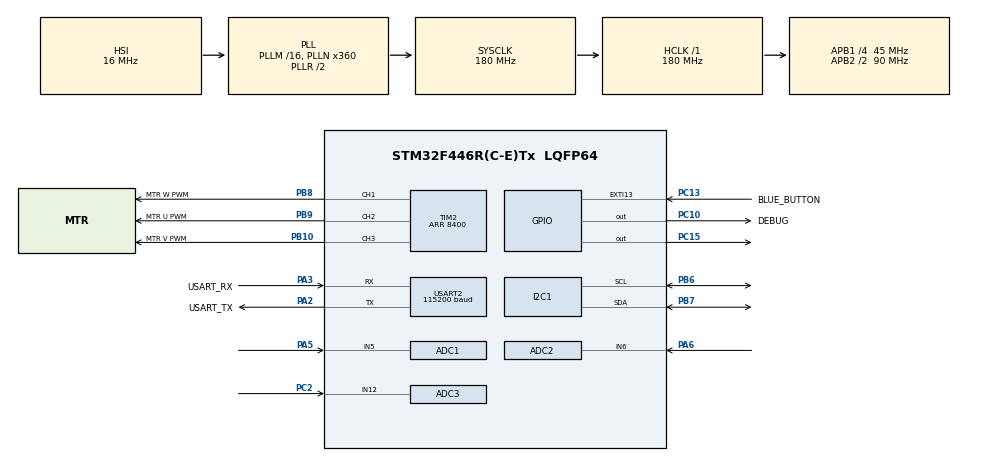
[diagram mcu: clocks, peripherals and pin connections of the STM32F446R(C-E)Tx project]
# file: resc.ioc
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ADC1.Channel-0\#ChannelRegularConversion=ADC_CHANNEL_5
ADC1.ExternalTrigConv=ADC_EXTERNALTRIGCONV_T5_CC1
ADC1.NbrOfConversionFlag=1
ADC1.Rank-0\#ChannelRegularConversion=1
ADC1.Resolution=ADC_RESOLUTION_12B
ADC1.SamplingTime-0\#ChannelRegularConversion=ADC_SAMPLETIME_15CYCLES
ADC1.master=1
ADC2.Channel-0\#ChannelRegularConversion=ADC_CHANNEL_6
ADC2.ClockPrescaler=ADC_CLOCK_SYNC_PCLK_DIV4
ADC2.ExternalTrigConv=ADC_EXTERNALTRIGCONV_T5_CC2
ADC2.NbrOfConversionFlag=1
ADC2.Rank-0\#ChannelRegularConversion=1
ADC2.Resolution=ADC_RESOLUTION_12B
ADC2.SamplingTime-0\#ChannelRegularConversion=ADC_SAMPLETIME_3CYCLES
ADC3.Channel-2\#ChannelRegularConversion=ADC_CHANNEL_12
ADC3.ExternalTrigConv=ADC_EXTERNALTRIGCONV_T5_CC3
ADC3.InjNumberOfConversion=0
ADC3.NbrOfConversionFlag=1
ADC3.Rank-2\#ChannelRegularConversion=1
ADC3.Resolution=ADC_RESOLUTION_12B
ADC3.SamplingTime-2\#ChannelRegularConversion=ADC_SAMPLETIME_3CYCLES
I2C1.I2C_Mode=I2C_Standard
Mcu.Family=STM32F4
Mcu.Name=STM32F446R(C-E)Tx
Mcu.Package=LQFP64
NVIC.EXTI15_10_IRQn=true\:6\:0\:true\:false\:true\:true\:true\:true
NVIC.I2C1_EV_IRQn=true\:6\:0\:true\:false\:true\:true\:true\:true
NVIC.PriorityGroup=NVIC_PRIORITYGROUP_4
NVIC.TIM1_UP_TIM10_IRQn=true\:15\:0\:true\:false\:true\:false\:true\:true
NVIC.TIM3_IRQn=true\:5\:0\:true\:false\:true\:true\:true\:true
NVIC.TIM6_DAC_IRQn=true\:7\:0\:true\:false\:true\:true\:true\:true
NVIC.TimeBase=TIM1_UP_TIM10_IRQn
NVIC.TimeBaseIP=TIM1
NVIC.USART2_IRQn=true\:8\:0\:true\:false\:true\:true\:true\:true
PA13.GPIO_Label=TMS
PA13.Signal=SYS_JTMS-SWDIO
PA14.GPIO_Label=TCK
PA14.Signal=SYS_JTCK-SWCLK
PA2.GPIO_Label=USART_TX
PA2.Mode=Asynchronous
PA2.Signal=USART2_TX
PA3.GPIO_Label=USART_RX
PA3.Mode=Asynchronous
PA3.Signal=USART2_RX
PA5.Signal=ADCx_IN5
PA6.Signal=ADCx_IN6
PB10.GPIO_Label=MTR V PWM
PB10.Signal=S_TIM2_CH3
PB3.GPIO_Label=SWO
PB3.Signal=SYS_JTDO-SWO
PB6.Mode=I2C
PB6.Signal=I2C1_SCL
PB7.Mode=I2C
PB7.Signal=I2C1_SDA
PB8.GPIO_Label=MTR W PWM
PB8.Signal=S_TIM2_CH1_ETR
PB9.GPIO_Label=MTR U PWM
PB9.Signal=S_TIM2_CH2
PC10.GPIO_Label=DEBUG
PC10.GPIO_Speed=GPIO_SPEED_FREQ_VERY_HIGH
PC10.Signal=GPIO_Output
PC13.GPIO_Label=BLUE_BUTTON
PC13.GPIO_PuPd=GPIO_PULLDOWN
PC13.Signal=GPXTI13
PC15-OSC32_OUT.PinState=GPIO_PIN_RESET
PC15-OSC32_OUT.Signal=GPIO_Output
PC2.Signal=ADCx_IN12
PH0-OSC_IN.Mode=HSE-External-Oscillator
PH0-OSC_IN.Signal=RCC_OSC_IN
PH1-OSC_OUT.Mode=HSE-External-Oscillator
PH1-OSC_OUT.Signal=RCC_OSC_OUT
ProjectManager.HeapSize=0x200
ProjectManager.StackSize=0x400
ProjectManager.TargetToolchain=STM32CubeIDE
RCC.48MHZClocksFreq_Value=84000000
RCC.AHBFreq_Value=180000000
RCC.APB1CLKDivider=RCC_HCLK_DIV4
RCC.APB1Freq_Value=45000000
RCC.APB1TimFreq_Value=90000000
RCC.APB2CLKDivider=RCC_HCLK_DIV2
RCC.APB2Freq_Value=90000000
RCC.APB2TimFreq_Value=180000000
RCC.CortexFreq_Value=180000000
RCC.FLatency-AdvancedSettings=FLASH_LATENCY_5
RCC.HCLKFreq_Value=180000000
RCC.HSE_VALUE=8000000
RCC.HSI_VALUE=16000000
RCC.PLLN=360
RCC.SYSCLKFreq_VALUE=180000000
RCC.SYSCLKSource=RCC_SYSCLKSOURCE_PLLRCLK
RCC.USBFreq_Value=180000000
RCC.VCOOutputFreq_Value=360000000
SH.ADCx_IN12.0=ADC3_IN12,IN12
SH.ADCx_IN5.0=ADC1_IN5,IN5
SH.ADCx_IN6.0=ADC2_IN6,IN6
SH.S_TIM2_CH1_ETR.0=TIM2_CH1,PWM Generation1 CH1
SH.S_TIM2_CH2.0=TIM2_CH2,PWM Generation2 CH2
SH.S_TIM2_CH3.0=TIM2_CH3,PWM Generation3 CH3
TIM2.Channel-PWM\ Generation1\ CH1=TIM_CHANNEL_1
TIM2.Channel-PWM\ Generation2\ CH2=TIM_CHANNEL_2
TIM2.Channel-PWM\ Generation3\ CH3=TIM_CHANNEL_3
TIM2.OCMode_PWM-PWM\ Generation1\ CH1=TIM_OCMODE_PWM1
TIM2.Period=8400
TIM2.Pulse-PWM\ Generation1\ CH1=100
TIM2.Pulse-PWM\ Generation2\ CH2=100
TIM2.Pulse-PWM\ Generation3\ CH3=100
TIM2.TIM_MasterOutputTrigger=TIM_TRGO_UPDATE
TIM2.TIM_MasterSlaveMode=TIM_MASTERSLAVEMODE_ENABLE
TIM3.ClockDivision=TIM_CLOCKDIVISION_DIV2
TIM3.Period=30000
TIM3.Prescaler=2
TIM5.Channel-PWM\ Generation1\ No\ Output=TIM_CHANNEL_1
TIM5.Channel-PWM\ Generation2\ No\ Output=TIM_CHANNEL_2
TIM5.Channel-PWM\ Generation3\ No\ Output=TIM_CHANNEL_3
TIM5.OCFastMode_PWM-PWM\ Generation1\ No\ Output=TIM_OCFAST_ENABLE
TIM5.OCFastMode_PWM-PWM\ Generation2\ No\ Output=TIM_OCFAST_ENABLE
TIM5.OCFastMode_PWM-PWM\ Generation3\ No\ Output=TIM_OCFAST_ENABLE
TIM5.Period=8400
TIM5.TIM_MasterOutputTrigger=TIM_TRGO_OC1
TIM6.Period=360
TIM6.Prescaler=1000
USART2.BaudRate=115200
USART2.OverSampling=UART_OVERSAMPLING_8
USART2.VirtualMode=VM_ASYNC
VP_SYS_VS_tim1.Mode=TIM1
VP_TIM2_VS_ClockSourceINT.Mode=Internal
VP_TIM3_VS_ClockSourceINT.Mode=Internal
VP_TIM5_VS_ClockSourceITR.Mode=TriggerSource_ITR0
VP_TIM5_VS_ControllerModeReset.Mode=Reset Mode
VP_TIM5_VS_no_output1.Mode=PWM Generation1 No Output
VP_TIM5_VS_no_output2.Mode=PWM Generation2 No Output
VP_TIM5_VS_no_output3.Mode=PWM Generation3 No Output
VP_TIM6_VS_ClockSourceINT.Mode=Enable_Timer
board=NUCLEO-F446RE

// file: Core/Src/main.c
/* USER CODE BEGIN Header */
/**
  ******************************************************************************
  * @file           : main.c
  * @brief          : Main program body
  ******************************************************************************
  * @attention
  *
  * Copyright (c) 2022 STMicroelectronics.
  * All rights reserved.
  *
  * This software is licensed under terms that can be found in the LICENSE file
  * in the root directory of this software component.
  * If no LICENSE file comes with this software, it is provided AS-IS.
  *
  ******************************************************************************
  */
/* USER CODE END Header */
#include "main.h"

/* USER CODE BEGIN Includes */
#include "math.h"

/* USER CODE END Includes */

ADC_HandleTypeDef hadc1;
ADC_HandleTypeDef hadc2;
ADC_HandleTypeDef hadc3;

I2C_HandleTypeDef hi2c1;

TIM_HandleTypeDef htim2;
TIM_HandleTypeDef htim3;
TIM_HandleTypeDef htim5;
TIM_HandleTypeDef htim6;

UART_HandleTypeDef huart2;

void SystemClock_Config(void);
static void MX_GPIO_Init(void);
static void MX_USART2_UART_Init(void);
static void MX_ADC1_Init(void);
static void MX_ADC2_Init(void);
static void MX_ADC3_Init(void);
static void MX_TIM2_Init(void);
static void MX_I2C1_Init(void);
static void MX_TIM5_Init(void);
static void MX_TIM3_Init(void);
static void MX_TIM6_Init(void);

/* USER CODE BEGIN 0 */
void HAL_GPIO_EXTI_Callback(uint16_t GPIO_Pin){

	if(GPIO_Pin == BLUE_BUTTON_Pin){
		if(elec_search_state2){
			elec_search_state2 = 0;
		}else{
			elec_search_state2 = 1;
		}
	}

}

/* USER CODE END 0 */

int main(void)
{

  /* MCU Configuration--------------------------------------------------------*/

  /* Reset of all peripherals, Initializes the Flash interface and the Systick. */
  HAL_Init();

  /* Configure the system clock */
  SystemClock_Config();

  /* Initialize all configured peripherals */
  MX_GPIO_Init();
  MX_USART2_UART_Init();
  MX_ADC1_Init();
  MX_ADC2_Init();
  MX_ADC3_Init();
  MX_TIM2_Init();
  MX_I2C1_Init();
  MX_TIM5_Init();
  MX_TIM3_Init();
  MX_TIM6_Init();
  /* USER CODE BEGIN 2 */

  mtr_init();
  encoder_init();
  mtr_set_U(0.5);
  mtr_set_W(0.5);
  mtr_set_V(0.5);

  HAL_TIM_Base_Start_IT(&htim3);
  HAL_TIM_Base_Start_IT(&htim6);

  logger_init(&huart2);
  //debug_print_init(&huart2);

  /* USER CODE END 2 */

  /* Infinite loop */
  while (1)
  {

  }
}

void SystemClock_Config(void)
{
  RCC_OscInitTypeDef RCC_OscInitStruct = {0};
  RCC_ClkInitTypeDef RCC_ClkInitStruct = {0};

  /** Configure the main internal regulator output voltage
  */
  __HAL_RCC_PWR_CLK_ENABLE();
  __HAL_PWR_VOLTAGESCALING_CONFIG(PWR_REGULATOR_VOLTAGE_SCALE1);

  /** Initializes the RCC Oscillators according to the specified parameters
  * in the RCC_OscInitTypeDef structure.
  */
  RCC_OscInitStruct.OscillatorType = RCC_OSCILLATORTYPE_HSI;
  RCC_OscInitStruct.HSIState = RCC_HSI_ON;
  RCC_OscInitStruct.HSICalibrationValue = RCC_HSICALIBRATION_DEFAULT;
  RCC_OscInitStruct.PLL.PLLState = RCC_PLL_ON;
  RCC_OscInitStruct.PLL.PLLSource = RCC_PLLSOURCE_HSI;
  RCC_OscInitStruct.PLL.PLLM = 16;
  RCC_OscInitStruct.PLL.PLLN = 360;
  RCC_OscInitStruct.PLL.PLLP = RCC_PLLP_DIV2;
  RCC_OscInitStruct.PLL.PLLQ = 2;
  RCC_OscInitStruct.PLL.PLLR = 2;
  if (HAL_RCC_OscConfig(&RCC_OscInitStruct) != HAL_OK)
  {
    Error_Handler();
  }

  /** Activate the Over-Drive mode
  */
  if (HAL_PWREx_EnableOverDrive() != HAL_OK)
  {
    Error_Handler();
  }

  /** Initializes the CPU, AHB and APB buses clocks
  */
  RCC_ClkInitStruct.ClockType = RCC_CLOCKTYPE_HCLK|RCC_CLOCKTYPE_SYSCLK
                              |RCC_CLOCKTYPE_PCLK1|RCC_CLOCKTYPE_PCLK2;
  RCC_ClkInitStruct.SYSCLKSource = RCC_SYSCLKSOURCE_PLLRCLK;
  RCC_ClkInitStruct.AHBCLKDivider = RCC_SYSCLK_DIV1;
  RCC_ClkInitStruct.APB1CLKDivider = RCC_HCLK_DIV4;
  RCC_ClkInitStruct.APB2CLKDivider = RCC_HCLK_DIV2;

  if (HAL_RCC_ClockConfig(&RCC_ClkInitStruct, FLASH_LATENCY_5) != HAL_OK)
  {
    Error_Handler();
  }
}

static void MX_ADC1_Init(void)
{

  ADC_ChannelConfTypeDef sConfig = {0};

  /** Configure the global features of the ADC (Clock, Resolution, Data Alignment and number of conversion)
  */
  hadc1.Instance = ADC1;
  hadc1.Init.ClockPrescaler = ADC_CLOCK_SYNC_PCLK_DIV4;
  hadc1.Init.Resolution = ADC_RESOLUTION_12B;
  hadc1.Init.ScanConvMode = DISABLE;
  hadc1.Init.ContinuousConvMode = DISABLE;
  hadc1.Init.DiscontinuousConvMode = DISABLE;
  hadc1.Init.ExternalTrigConvEdge = ADC_EXTERNALTRIGCONVEDGE_RISING;
  hadc1.Init.ExternalTrigConv = ADC_EXTERNALTRIGCONV_T5_CC1;
  hadc1.Init.DataAlign = ADC_DATAALIGN_RIGHT;
  hadc1.Init.NbrOfConversion = 1;
  hadc1.Init.DMAContinuousRequests = DISABLE;
  hadc1.Init.EOCSelection = ADC_EOC_SINGLE_CONV;
  if (HAL_ADC_Init(&hadc1) != HAL_OK)
  {
    Error_Handler();
  }

  /** Configure for the selected ADC regular channel its corresponding rank in the sequencer and its sample time.
  */
  sConfig.Channel = ADC_CHANNEL_5;
  sConfig.Rank = 1;
  sConfig.SamplingTime = ADC_SAMPLETIME_15CYCLES;
  if (HAL_ADC_ConfigChannel(&hadc1, &sConfig) != HAL_OK)
  {
    Error_Handler();
  }

}

static void MX_ADC2_Init(void)
{

  ADC_ChannelConfTypeDef sConfig = {0};

  /** Configure the global features of the ADC (Clock, Resolution, Data Alignment and number of conversion)
  */
  hadc2.Instance = ADC2;
  hadc2.Init.ClockPrescaler = ADC_CLOCK_SYNC_PCLK_DIV4;
  hadc2.Init.Resolution = ADC_RESOLUTION_12B;
  hadc2.Init.ScanConvMode = DISABLE;
  hadc2.Init.ContinuousConvMode = DISABLE;
  hadc2.Init.DiscontinuousConvMode = DISABLE;
  hadc2.Init.ExternalTrigConvEdge = ADC_EXTERNALTRIGCONVEDGE_RISING;
  hadc2.Init.ExternalTrigConv = ADC_EXTERNALTRIGCONV_T5_CC2;
  hadc2.Init.DataAlign = ADC_DATAALIGN_RIGHT;
  hadc2.Init.NbrOfConversion = 1;
  hadc2.Init.DMAContinuousRequests = DISABLE;
  hadc2.Init.EOCSelection = ADC_EOC_SINGLE_CONV;
  if (HAL_ADC_Init(&hadc2) != HAL_OK)
  {
    Error_Handler();
  }

  /** Configure for the selected ADC regular channel its corresponding rank in the sequencer and its sample time.
  */
  sConfig.Channel = ADC_CHANNEL_6;
  sConfig.Rank = 1;
  sConfig.SamplingTime = ADC_SAMPLETIME_3CYCLES;
  if (HAL_ADC_ConfigChannel(&hadc2, &sConfig) != HAL_OK)
  {
    Error_Handler();
  }

}

static void MX_ADC3_Init(void)
{

  ADC_ChannelConfTypeDef sConfig = {0};

  /** Configure the global features of the ADC (Clock, Resolution, Data Alignment and number of conversion)
  */
  hadc3.Instance = ADC3;
  hadc3.Init.ClockPrescaler = ADC_CLOCK_SYNC_PCLK_DIV4;
  hadc3.Init.Resolution = ADC_RESOLUTION_12B;
  hadc3.Init.ScanConvMode = DISABLE;
  hadc3.Init.ContinuousConvMode = DISABLE;
  hadc3.Init.DiscontinuousConvMode = DISABLE;
  hadc3.Init.ExternalTrigConvEdge = ADC_EXTERNALTRIGCONVEDGE_RISING;
  hadc3.Init.ExternalTrigConv = ADC_EXTERNALTRIGCONV_T5_CC3;
  hadc3.Init.DataAlign = ADC_DATAALIGN_RIGHT;
  hadc3.Init.NbrOfConversion = 1;
  hadc3.Init.DMAContinuousRequests = DISABLE;
  hadc3.Init.EOCSelection = ADC_EOC_SINGLE_CONV;
  if (HAL_ADC_Init(&hadc3) != HAL_OK)
  {
    Error_Handler();
  }

  /** Configure for the selected ADC regular channel its corresponding rank in the sequencer and its sample time.
  */
  sConfig.Channel = ADC_CHANNEL_12;
  sConfig.Rank = 1;
  sConfig.SamplingTime = ADC_SAMPLETIME_3CYCLES;
  if (HAL_ADC_ConfigChannel(&hadc3, &sConfig) != HAL_OK)
  {
    Error_Handler();
  }

}

static void MX_I2C1_Init(void)
{

  hi2c1.Instance = I2C1;
  hi2c1.Init.ClockSpeed = 100000;
  hi2c1.Init.DutyCycle = I2C_DUTYCYCLE_2;
  hi2c1.Init.OwnAddress1 = 0;
  hi2c1.Init.AddressingMode = I2C_ADDRESSINGMODE_7BIT;
  hi2c1.Init.DualAddressMode = I2C_DUALADDRESS_DISABLE;
  hi2c1.Init.OwnAddress2 = 0;
  hi2c1.Init.GeneralCallMode = I2C_GENERALCALL_DISABLE;
  hi2c1.Init.NoStretchMode = I2C_NOSTRETCH_DISABLE;
  if (HAL_I2C_Init(&hi2c1) != HAL_OK)
  {
    Error_Handler();
  }

}

static void MX_TIM2_Init(void)
{

  TIM_ClockConfigTypeDef sClockSourceConfig = {0};
  TIM_MasterConfigTypeDef sMasterConfig = {0};
  TIM_OC_InitTypeDef sConfigOC = {0};

  htim2.Instance = TIM2;
  htim2.Init.Prescaler = 0;
  htim2.Init.CounterMode = TIM_COUNTERMODE_UP;
  htim2.Init.Period = 8400;
  htim2.Init.ClockDivision = TIM_CLOCKDIVISION_DIV1;
  htim2.Init.AutoReloadPreload = TIM_AUTORELOAD_PRELOAD_DISABLE;
  if (HAL_TIM_Base_Init(&htim2) != HAL_OK)
  {
    Error_Handler();
  }
  sClockSourceConfig.ClockSource = TIM_CLOCKSOURCE_INTERNAL;
  if (HAL_TIM_ConfigClockSource(&htim2, &sClockSourceConfig) != HAL_OK)
  {
    Error_Handler();
  }
  if (HAL_TIM_PWM_Init(&htim2) != HAL_OK)
  {
    Error_Handler();
  }
  sMasterConfig.MasterOutputTrigger = TIM_TRGO_UPDATE;
  sMasterConfig.MasterSlaveMode = TIM_MASTERSLAVEMODE_ENABLE;
  if (HAL_TIMEx_MasterConfigSynchronization(&htim2, &sMasterConfig) != HAL_OK)
  {
    Error_Handler();
  }
  sConfigOC.OCMode = TIM_OCMODE_PWM1;
  sConfigOC.Pulse = 100;
  sConfigOC.OCPolarity = TIM_OCPOLARITY_HIGH;
  sConfigOC.OCFastMode = TIM_OCFAST_DISABLE;
  if (HAL_TIM_PWM_ConfigChannel(&htim2, &sConfigOC, TIM_CHANNEL_1) != HAL_OK)
  {
    Error_Handler();
  }
  if (HAL_TIM_PWM_ConfigChannel(&htim2, &sConfigOC, TIM_CHANNEL_2) != HAL_OK)
  {
    Error_Handler();
  }
  if (HAL_TIM_PWM_ConfigChannel(&htim2, &sConfigOC, TIM_CHANNEL_3) != HAL_OK)
  {
    Error_Handler();
  }
  HAL_TIM_MspPostInit(&htim2);

}

static void MX_TIM3_Init(void)
{

  TIM_ClockConfigTypeDef sClockSourceConfig = {0};
  TIM_MasterConfigTypeDef sMasterConfig = {0};

  htim3.Instance = TIM3;
  htim3.Init.Prescaler = 2;
  htim3.Init.CounterMode = TIM_COUNTERMODE_UP;
  htim3.Init.Period = 30000;
  htim3.Init.ClockDivision = TIM_CLOCKDIVISION_DIV2;
  htim3.Init.AutoReloadPreload = TIM_AUTORELOAD_PRELOAD_DISABLE;
  if (HAL_TIM_Base_Init(&htim3) != HAL_OK)
  {
    Error_Handler();
  }
  sClockSourceConfig.ClockSource = TIM_CLOCKSOURCE_INTERNAL;
  if (HAL_TIM_ConfigClockSource(&htim3, &sClockSourceConfig) != HAL_OK)
  {
    Error_Handler();
  }
  sMasterConfig.MasterOutputTrigger = TIM_TRGO_RESET;
  sMasterConfig.MasterSlaveMode = TIM_MASTERSLAVEMODE_DISABLE;
  if (HAL_TIMEx_MasterConfigSynchronization(&htim3, &sMasterConfig) != HAL_OK)
  {
    Error_Handler();
  }

}

static void MX_TIM5_Init(void)
{

  TIM_SlaveConfigTypeDef sSlaveConfig = {0};
  TIM_MasterConfigTypeDef sMasterConfig = {0};
  TIM_OC_InitTypeDef sConfigOC = {0};

  htim5.Instance = TIM5;
  htim5.Init.Prescaler = 0;
  htim5.Init.CounterMode = TIM_COUNTERMODE_UP;
  htim5.Init.Period = 8400;
  htim5.Init.ClockDivision = TIM_CLOCKDIVISION_DIV1;
  htim5.Init.AutoReloadPreload = TIM_AUTORELOAD_PRELOAD_DISABLE;
  if (HAL_TIM_Base_Init(&htim5) != HAL_OK)
  {
    Error_Handler();
  }
  if (HAL_TIM_PWM_Init(&htim5) != HAL_OK)
  {
    Error_Handler();
  }
  sSlaveConfig.SlaveMode = TIM_SLAVEMODE_RESET;
  sSlaveConfig.InputTrigger = TIM_TS_ITR0;
  if (HAL_TIM_SlaveConfigSynchro(&htim5, &sSlaveConfig) != HAL_OK)
  {
    Error_Handler();
  }
  sMasterConfig.MasterOutputTrigger = TIM_TRGO_OC1;
  sMasterConfig.MasterSlaveMode = TIM_MASTERSLAVEMODE_DISABLE;
  if (HAL_TIMEx_MasterConfigSynchronization(&htim5, &sMasterConfig) != HAL_OK)
  {
    Error_Handler();
  }
  sConfigOC.OCMode = TIM_OCMODE_PWM1;
  sConfigOC.Pulse = 0;
  sConfigOC.OCPolarity = TIM_OCPOLARITY_HIGH;
  sConfigOC.OCFastMode = TIM_OCFAST_ENABLE;
  if (HAL_TIM_PWM_ConfigChannel(&htim5, &sConfigOC, TIM_CHANNEL_1) != HAL_OK)
  {
    Error_Handler();
  }
  if (HAL_TIM_PWM_ConfigChannel(&htim5, &sConfigOC, TIM_CHANNEL_2) != HAL_OK)
  {
    Error_Handler();
  }
  if (HAL_TIM_PWM_ConfigChannel(&htim5, &sConfigOC, TIM_CHANNEL_3) != HAL_OK)
  {
    Error_Handler();
  }

}

static void MX_TIM6_Init(void)
{

  TIM_MasterConfigTypeDef sMasterConfig = {0};

  htim6.Instance = TIM6;
  htim6.Init.Prescaler = 1000;
  htim6.Init.CounterMode = TIM_COUNTERMODE_UP;
  htim6.Init.Period = 360;
  htim6.Init.AutoReloadPreload = TIM_AUTORELOAD_PRELOAD_DISABLE;
  if (HAL_TIM_Base_Init(&htim6) != HAL_OK)
  {
    Error_Handler();
  }
  sMasterConfig.MasterOutputTrigger = TIM_TRGO_RESET;
  sMasterConfig.MasterSlaveMode = TIM_MASTERSLAVEMODE_DISABLE;
  if (HAL_TIMEx_MasterConfigSynchronization(&htim6, &sMasterConfig) != HAL_OK)
  {
    Error_Handler();
  }

}

static void MX_USART2_UART_Init(void)
{

  huart2.Instance = USART2;
  huart2.Init.BaudRate = 115200;
  huart2.Init.WordLength = UART_WORDLENGTH_8B;
  huart2.Init.StopBits = UART_STOPBITS_1;
  huart2.Init.Parity = UART_PARITY_NONE;
  huart2.Init.Mode = UART_MODE_TX_RX;
  huart2.Init.HwFlowCtl = UART_HWCONTROL_NONE;
  huart2.Init.OverSampling = UART_OVERSAMPLING_8;
  if (HAL_UART_Init(&huart2) != HAL_OK)
  {
    Error_Handler();
  }

}

static void MX_GPIO_Init(void)
{
  GPIO_InitTypeDef GPIO_InitStruct = {0};

  /* GPIO Ports Clock Enable */
  __HAL_RCC_GPIOC_CLK_ENABLE();
  __HAL_RCC_GPIOH_CLK_ENABLE();
  __HAL_RCC_GPIOA_CLK_ENABLE();
  __HAL_RCC_GPIOB_CLK_ENABLE();

  /*Configure GPIO pin Output Level */
  HAL_GPIO_WritePin(GPIOC, GPIO_PIN_15|DEBUG_Pin, GPIO_PIN_RESET);

  /*Configure GPIO pin : BLUE_BUTTON_Pin */
  GPIO_InitStruct.Pin = BLUE_BUTTON_Pin;
  GPIO_InitStruct.Mode = GPIO_MODE_IT_RISING;
  GPIO_InitStruct.Pull = GPIO_PULLDOWN;
  HAL_GPIO_Init(BLUE_BUTTON_GPIO_Port, &GPIO_InitStruct);

  /*Configure GPIO pin : PC15 */
  GPIO_InitStruct.Pin = GPIO_PIN_15;
  GPIO_InitStruct.Mode = GPIO_MODE_OUTPUT_PP;
  GPIO_InitStruct.Pull = GPIO_NOPULL;
  GPIO_InitStruct.Speed = GPIO_SPEED_FREQ_LOW;
  HAL_GPIO_Init(GPIOC, &GPIO_InitStruct);

  /*Configure GPIO pin : DEBUG_Pin */
  GPIO_InitStruct.Pin = DEBUG_Pin;
  GPIO_InitStruct.Mode = GPIO_MODE_OUTPUT_PP;
  GPIO_InitStruct.Pull = GPIO_NOPULL;
  GPIO_InitStruct.Speed = GPIO_SPEED_FREQ_VERY_HIGH;
  HAL_GPIO_Init(DEBUG_GPIO_Port, &GPIO_InitStruct);

  /* EXTI interrupt init*/
  HAL_NVIC_SetPriority(EXTI15_10_IRQn, 6, 0);
  HAL_NVIC_EnableIRQ(EXTI15_10_IRQn);

}

void HAL_TIM_PeriodElapsedCallback(TIM_HandleTypeDef *htim)
{
  if (htim->Instance == TIM1) {
    HAL_IncTick();
  }
  /* USER CODE BEGIN Callback 1 */
  /*
  if (htim->Instance == TIM3) {
    mtr_current_ctrl_step();
  }

  if (htim->Instance == TIM6) {
    mtr_servo_ctrl_step();
  }
*/
  /* USER CODE END Callback 1 */
}

void Error_Handler(void)
{
  __disable_irq();
  while (1)
  {
  }
}
